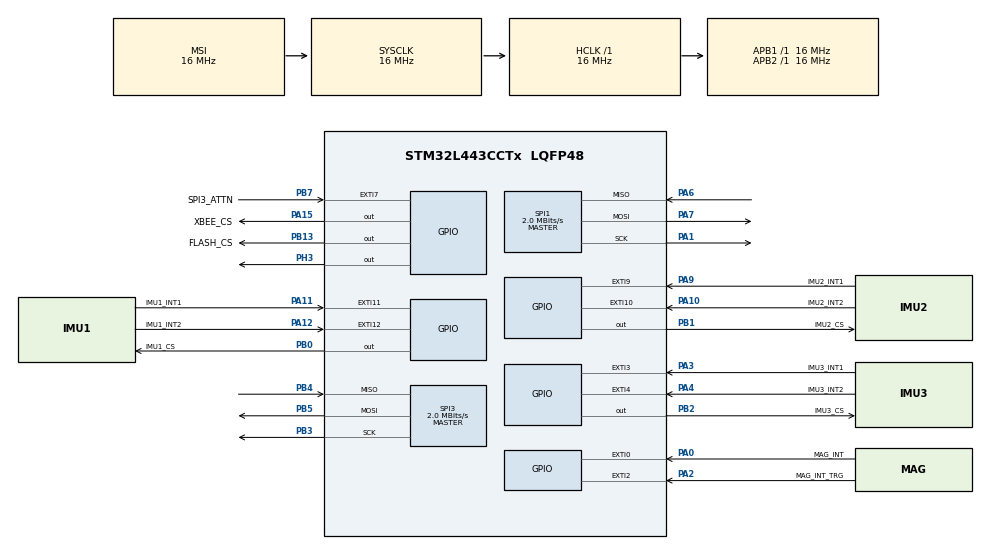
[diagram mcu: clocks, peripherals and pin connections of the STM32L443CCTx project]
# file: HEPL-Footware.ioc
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ARM.CMSIS.5.8.0.CMSISJjCORE=true
ARM.CMSIS.5.8.0.CMSISJjDSP=Source
Mcu.Family=STM32L4
Mcu.Name=STM32L443CCTx
Mcu.Package=LQFP48
NVIC.EXTI0_IRQn=true\:4\:0\:true\:false\:true\:true\:true\:true
NVIC.EXTI15_10_IRQn=true\:3\:0\:true\:false\:true\:true\:true\:true
NVIC.EXTI3_IRQn=true\:3\:0\:true\:false\:true\:true\:true\:true
NVIC.EXTI4_IRQn=true\:3\:0\:true\:false\:true\:true\:true\:true
NVIC.EXTI9_5_IRQn=true\:3\:0\:true\:false\:true\:true\:true\:true
NVIC.PriorityGroup=NVIC_PRIORITYGROUP_4
NVIC.TIM2_IRQn=true\:0\:0\:false\:false\:true\:true\:true\:true
PA0.GPIO_Label=MAG_INT
PA0.Signal=GPXTI0
PA1.Mode=Full_Duplex_Master
PA1.Signal=SPI1_SCK
PA10.GPIO_Label=IMU2_INT2
PA10.Signal=GPXTI10
PA11.GPIO_Label=IMU1_INT1
PA11.Signal=GPXTI11
PA12.GPIO_Label=IMU1_INT2
PA12.Signal=GPXTI12
PA13\ (JTMS-SWDIO).Mode=Serial_Wire
PA13\ (JTMS-SWDIO).Signal=SYS_JTMS-SWDIO
PA14\ (JTCK-SWCLK).Mode=Serial_Wire
PA14\ (JTCK-SWCLK).Signal=SYS_JTCK-SWCLK
PA15\ (JTDI).GPIO_Label=XBEE_CS
PA15\ (JTDI).Signal=GPIO_Output
PA2.GPIO_Label=MAG_INT_TRG
PA2.Signal=GPXTI2
PA3.GPIO_Label=IMU3_INT1
PA3.Signal=GPXTI3
PA4.GPIO_Label=IMU3_INT2
PA4.Signal=GPXTI4
PA6.Mode=Full_Duplex_Master
PA6.Signal=SPI1_MISO
PA7.Mode=Full_Duplex_Master
PA7.Signal=SPI1_MOSI
PA9.GPIO_Label=IMU2_INT1
PA9.Signal=GPXTI9
PB0.GPIO_Label=IMU1_CS
PB0.Signal=GPIO_Output
PB1.GPIO_Label=IMU2_CS
PB1.Signal=GPIO_Output
PB10.Signal=SPI2_SCK
PB13.GPIO_Label=FLASH_CS
PB13.Signal=GPIO_Output
PB14.Signal=SPI2_MISO
PB15.Signal=SPI2_MOSI
PB2.GPIO_Label=IMU3_CS
PB2.Signal=GPIO_Output
PB3\ (JTDO-TRACESWO).Mode=Full_Duplex_Master
PB3\ (JTDO-TRACESWO).Signal=SPI3_SCK
PB4\ (NJTRST).Mode=Full_Duplex_Master
PB4\ (NJTRST).Signal=SPI3_MISO
PB5.Mode=Full_Duplex_Master
PB5.Signal=SPI3_MOSI
PB7.GPIO_Label=SPI3_ATTN
PB7.GPIO_ModeDefaultEXTI=GPIO_MODE_IT_FALLING
PB7.Signal=GPXTI7
PH0-OSC_IN\ (PH0).Mode=HSE-External-Oscillator
PH0-OSC_IN\ (PH0).Signal=RCC_OSC_IN
PH1-OSC_OUT\ (PH1).Mode=HSE-External-Oscillator
PH1-OSC_OUT\ (PH1).Signal=RCC_OSC_OUT
PH3-BOOT0.GPIO_PuPd=GPIO_PULLDOWN
PH3-BOOT0.Signal=GPIO_Output
ProjectManager.HeapSize=0x200
ProjectManager.StackSize=0x400
ProjectManager.TargetToolchain=STM32CubeIDE
RCC.ADCFreq_Value=64000000
RCC.AHBFreq_Value=16000000
RCC.APB1Freq_Value=16000000
RCC.APB1TimFreq_Value=16000000
RCC.APB2Freq_Value=16000000
RCC.APB2TimFreq_Value=16000000
RCC.CortexFreq_Value=16000000
RCC.DATA_CACHE_ENABLE=1
RCC.HCLKFreq_Value=16000000
RCC.HSE_VALUE=8000000
RCC.HSI48_VALUE=48000000
RCC.HSI_VALUE=16000000
RCC.INSTRUCTION_CACHE_ENABLE=1
RCC.LSE_VALUE=32768
RCC.MSIClockRange=RCC_MSIRANGE_8
RCC.MSI_VALUE=16000000
RCC.PREFETCH_ENABLE=1
RCC.SYSCLKFreq_VALUE=16000000
RCC.USBFreq_Value=64000000
RCC.VCOOutputFreq_Value=128000000
SPI1.BaudRatePrescaler=SPI_BAUDRATEPRESCALER_8
SPI1.CLKPhase=SPI_PHASE_1EDGE
SPI1.CLKPolarity=SPI_POLARITY_LOW
SPI1.CalculateBaudRate=2.0 MBits/s
SPI1.DataSize=SPI_DATASIZE_8BIT
SPI1.Direction=SPI_DIRECTION_2LINES
SPI1.Mode=SPI_MODE_MASTER
SPI1.NSSPMode=SPI_NSS_PULSE_DISABLE
SPI1.VirtualType=VM_MASTER
SPI3.BaudRatePrescaler=SPI_BAUDRATEPRESCALER_8
SPI3.CalculateBaudRate=2.0 MBits/s
SPI3.DataSize=SPI_DATASIZE_8BIT
SPI3.Direction=SPI_DIRECTION_2LINES
SPI3.Mode=SPI_MODE_MASTER
SPI3.VirtualType=VM_MASTER
TIM2.Channel-Output\ Compare1\ No\ Output=TIM_CHANNEL_1
TIM2.OC1Preload=DISABLE
TIM2.OCMode_1=TIM_OCMODE_TIMING
TIM2.Period=40
TIM2.Prescaler=7999
VP_ARM.CMSIS_VS_CMSISJjCORE_5.5.0_5.8.0.Mode=CMSISJjCORE
VP_ARM.CMSIS_VS_CMSISJjDSP_1.9.0-dev_5.8.0.Mode=CMSISJjDSP
VP_TIM2_VS_ClockSourceINT.Mode=Internal
VP_TIM2_VS_no_output1.Mode=Output Compare1 No Output
board=custom

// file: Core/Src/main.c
/* USER CODE BEGIN Header */
/**
  ******************************************************************************
  * @file           : main.c
  * @brief          : Main program body
  ******************************************************************************
  * @attention
  *
  * Copyright (c) 2023 STMicroelectronics.
  * All rights reserved.
  *
  * This software is licensed under terms that can be found in the LICENSE file
  * in the root directory of this software component.
  * If no LICENSE file comes with this software, it is provided AS-IS.
  *
  ******************************************************************************
  */
/* USER CODE END Header */
#include "main.h"

/* USER CODE BEGIN Includes */

#include "IMU.h"
#include "stm32l4xx_hal.h"
#include <hueristicProcessing.h>
#include "XBee.h"

/* USER CODE END Includes */

/* USER CODE BEGIN PD */
#define TX_DATA_BUF_SZ 12
/* USER CODE END PD */

SPI_HandleTypeDef hspi1;
SPI_HandleTypeDef hspi3;

TIM_HandleTypeDef htim2;

/* USER CODE BEGIN PV */

IMU IMU0;
IMU IMU1;
IMU IMU2;

SensorData IMU0_data;
SensorData IMU1_data;
SensorData IMU2_data;

volatile uint8_t DRDY_flag = 0;

volatile uint8_t periodic_tx_flag = 1;

volatile uint8_t new_data_flag = 0;

const uint8_t IS_COMP_FILTER = 1;

volatile int calibrated = 0;

enum STATE {
		RESET_STATE,
		RUN_STATE
};

volatile float timeDelta = 1 * 1.0F/50; // Default to 1/52Hz (IMU sample rate)

/* USER CODE END PV */

void SystemClock_Config(void);
static void MX_GPIO_Init(void);
static void MX_SPI1_Init(void);
static void MX_SPI3_Init(void);
static void MX_TIM2_Init(void);

/* USER CODE BEGIN 0 */

// Needs ~0.5s delay when switching b/w XBees for some reason
#define CTR_MOD 50
#define comp 1
#define glass 0
uint8_t xbee_rx_buf[64];
uint16_t rx_size;

uint8_t sendCurrentPosition(uint8_t state) {
	static int ctr = 0;

//	Position pos;
//
//	returnCurrentPosition(&pos);

	Position pos;

	float heading = returnCurrentPosition(&pos);
	uint32_t head = *(int*)&heading; // x_opt

//	uint32_t posX = *(int*)&pos.X;
//	uint32_t posY = *(int*)&pos.Y;

	uint32_t POSX = *(int*)&pos.X;
	uint32_t POSY = *(int*)&pos.Y;

	//Position tmp = {(float)ZUPT, 0,0};

	uint8_t data_buf[12];

	int i;
	for (i = 0; i < 3; ++i) {
	  data_buf[i] = (POSX >> (3-i)*8) & 0xFF;
	}
	for (i = 0; i < 3; ++i) {
	  data_buf[i+4] = (POSY >> (3-i)*8) & 0xFF;
	}
	for (i = 0; i < 3; ++i) {
	  data_buf[i+8] = (head >> (3-i)*8) & 0xFF;
	}

	//data_buf[8] = state;

	if (ctr == 0) {
		//XBeeTX(data_buf, TX_DATA_BUF_SZ,xbee_rx_buf, glass);
		XBeeTX(data_buf, TX_DATA_BUF_SZ,xbee_rx_buf, comp);
	} //else if (ctr == CTR_MOD/2){
		//XBeeTransmitReceive(data_buf, xbee_rx_buf, TX_DATA_BUF_SZ, comp);
	//}

	ctr = (ctr + 1) % CTR_MOD;

	return xbee_rx_buf[0];
}

/* USER CODE END 0 */

int main(void)
{

  /* MCU Configuration--------------------------------------------------------*/

  /* Reset of all peripherals, Initializes the Flash interface and the Systick. */
  HAL_Init();

  /* Configure the system clock */
  SystemClock_Config();

  /* Initialize all configured peripherals */
  MX_GPIO_Init();
  MX_SPI1_Init();
  MX_SPI3_Init();
  MX_TIM2_Init();
  /* USER CODE BEGIN 2 */

  if (HAL_TIM_Base_Start_IT(&htim2) != HAL_OK) {
      /* Starting Error */
      Error_Handler();
  }

  IMU_init(&hspi1, &IMU0, 0);
  IMU_init(&hspi1, &IMU1, 1);
  IMU_init(&hspi1, &IMU2, 2);

  HAL_Delay(500);

  IMU_readSensorData(&IMU0, &IMU0_data);
  IMU_readSensorData(&IMU1, &IMU1_data);
  IMU_readSensorData(&IMU2, &IMU2_data);

  HAL_Delay(500);

  IMU_readSensorData(&IMU0, &IMU0_data);
  IMU_readSensorData(&IMU1, &IMU1_data);
  IMU_readSensorData(&IMU2, &IMU2_data);

  init_heuristic_processing(&IMU0_data, &IMU1_data, &IMU2_data);

  /* USER CODE END 2 */

  /* Infinite loop */
  while (1)
  {

    /* USER CODE BEGIN 3 */

	  if (DRDY_flag || periodic_tx_flag) {

		 // if (calibrated) {
			  // Sample IMU Data
			  IMU_readSensorData(&IMU0, &IMU0_data);
			  IMU_readSensorData(&IMU1, &IMU1_data);
			  IMU_readSensorData(&IMU2, &IMU2_data);

			  calculatePosition(&IMU0_data, &IMU1_data, &IMU2_data, timeDelta);

			  DRDY_flag = 0;

			  new_data_flag = 1;
		 /* } else {
			  // Sample IMU Data
			  IMU_readSensorData(&IMU0, &IMU0_data);
			  IMU_readSensorData(&IMU1, &IMU1_data);
			  IMU_readSensorData(&IMU2, &IMU2_data);

			  calibrate(&IMU0_data, &IMU1_data, &IMU2_data, timeDelta);

			  DRDY_flag = 0;
		  }*/

	  }

	  if (periodic_tx_flag && new_data_flag) {

		  sendCurrentPosition(RUN_STATE);

		  //TODO get a reset command
	/*	  if (rx_byte1 == 0xAA) {
			  // Reset command from glasses board

			  IMU_readSensorData(&IMU0, &IMU0_data);
			  IMU_readSensorData(&IMU1, &IMU1_data);

			  resetCurrentPosition(&IMU0_data, &IMU1_data);

			  sendCurrentPosition(RESET_STATE);
		  }*/
		  periodic_tx_flag = 0;
		  new_data_flag = 0;
	  }

  }
  /* USER CODE END 3 */
}

void SystemClock_Config(void)
{
  RCC_OscInitTypeDef RCC_OscInitStruct = {0};
  RCC_ClkInitTypeDef RCC_ClkInitStruct = {0};

  /** Configure the main internal regulator output voltage
  */
  if (HAL_PWREx_ControlVoltageScaling(PWR_REGULATOR_VOLTAGE_SCALE1) != HAL_OK)
  {
    Error_Handler();
  }

  /** Initializes the RCC Oscillators according to the specified parameters
  * in the RCC_OscInitTypeDef structure.
  */
  RCC_OscInitStruct.OscillatorType = RCC_OSCILLATORTYPE_MSI;
  RCC_OscInitStruct.MSIState = RCC_MSI_ON;
  RCC_OscInitStruct.MSICalibrationValue = 0;
  RCC_OscInitStruct.MSIClockRange = RCC_MSIRANGE_8;
  RCC_OscInitStruct.PLL.PLLState = RCC_PLL_NONE;
  if (HAL_RCC_OscConfig(&RCC_OscInitStruct) != HAL_OK)
  {
    Error_Handler();
  }

  /** Initializes the CPU, AHB and APB buses clocks
  */
  RCC_ClkInitStruct.ClockType = RCC_CLOCKTYPE_HCLK|RCC_CLOCKTYPE_SYSCLK
                              |RCC_CLOCKTYPE_PCLK1|RCC_CLOCKTYPE_PCLK2;
  RCC_ClkInitStruct.SYSCLKSource = RCC_SYSCLKSOURCE_MSI;
  RCC_ClkInitStruct.AHBCLKDivider = RCC_SYSCLK_DIV1;
  RCC_ClkInitStruct.APB1CLKDivider = RCC_HCLK_DIV1;
  RCC_ClkInitStruct.APB2CLKDivider = RCC_HCLK_DIV1;

  if (HAL_RCC_ClockConfig(&RCC_ClkInitStruct, FLASH_LATENCY_0) != HAL_OK)
  {
    Error_Handler();
  }
}

static void MX_SPI1_Init(void)
{

  /* SPI1 parameter configuration*/
  hspi1.Instance = SPI1;
  hspi1.Init.Mode = SPI_MODE_MASTER;
  hspi1.Init.Direction = SPI_DIRECTION_2LINES;
  hspi1.Init.DataSize = SPI_DATASIZE_8BIT;
  hspi1.Init.CLKPolarity = SPI_POLARITY_LOW;
  hspi1.Init.CLKPhase = SPI_PHASE_1EDGE;
  hspi1.Init.NSS = SPI_NSS_SOFT;
  hspi1.Init.BaudRatePrescaler = SPI_BAUDRATEPRESCALER_8;
  hspi1.Init.FirstBit = SPI_FIRSTBIT_MSB;
  hspi1.Init.TIMode = SPI_TIMODE_DISABLE;
  hspi1.Init.CRCCalculation = SPI_CRCCALCULATION_DISABLE;
  hspi1.Init.CRCPolynomial = 7;
  hspi1.Init.CRCLength = SPI_CRC_LENGTH_DATASIZE;
  hspi1.Init.NSSPMode = SPI_NSS_PULSE_DISABLE;
  if (HAL_SPI_Init(&hspi1) != HAL_OK)
  {
    Error_Handler();
  }

}

static void MX_SPI3_Init(void)
{

  /* SPI3 parameter configuration*/
  hspi3.Instance = SPI3;
  hspi3.Init.Mode = SPI_MODE_MASTER;
  hspi3.Init.Direction = SPI_DIRECTION_2LINES;
  hspi3.Init.DataSize = SPI_DATASIZE_8BIT;
  hspi3.Init.CLKPolarity = SPI_POLARITY_LOW;
  hspi3.Init.CLKPhase = SPI_PHASE_1EDGE;
  hspi3.Init.NSS = SPI_NSS_SOFT;
  hspi3.Init.BaudRatePrescaler = SPI_BAUDRATEPRESCALER_8;
  hspi3.Init.FirstBit = SPI_FIRSTBIT_MSB;
  hspi3.Init.TIMode = SPI_TIMODE_DISABLE;
  hspi3.Init.CRCCalculation = SPI_CRCCALCULATION_DISABLE;
  hspi3.Init.CRCPolynomial = 7;
  hspi3.Init.CRCLength = SPI_CRC_LENGTH_DATASIZE;
  hspi3.Init.NSSPMode = SPI_NSS_PULSE_ENABLE;
  if (HAL_SPI_Init(&hspi3) != HAL_OK)
  {
    Error_Handler();
  }

}

static void MX_TIM2_Init(void)
{

  TIM_ClockConfigTypeDef sClockSourceConfig = {0};
  TIM_MasterConfigTypeDef sMasterConfig = {0};
  TIM_OC_InitTypeDef sConfigOC = {0};

  htim2.Instance = TIM2;
  htim2.Init.Prescaler = 7999;
  htim2.Init.CounterMode = TIM_COUNTERMODE_UP;
  htim2.Init.Period = 40;
  htim2.Init.ClockDivision = TIM_CLOCKDIVISION_DIV1;
  htim2.Init.AutoReloadPreload = TIM_AUTORELOAD_PRELOAD_DISABLE;
  if (HAL_TIM_Base_Init(&htim2) != HAL_OK)
  {
    Error_Handler();
  }
  sClockSourceConfig.ClockSource = TIM_CLOCKSOURCE_INTERNAL;
  if (HAL_TIM_ConfigClockSource(&htim2, &sClockSourceConfig) != HAL_OK)
  {
    Error_Handler();
  }
  if (HAL_TIM_OC_Init(&htim2) != HAL_OK)
  {
    Error_Handler();
  }
  sMasterConfig.MasterOutputTrigger = TIM_TRGO_RESET;
  sMasterConfig.MasterSlaveMode = TIM_MASTERSLAVEMODE_DISABLE;
  if (HAL_TIMEx_MasterConfigSynchronization(&htim2, &sMasterConfig) != HAL_OK)
  {
    Error_Handler();
  }
  sConfigOC.OCMode = TIM_OCMODE_TIMING;
  sConfigOC.Pulse = 0;
  sConfigOC.OCPolarity = TIM_OCPOLARITY_HIGH;
  sConfigOC.OCFastMode = TIM_OCFAST_DISABLE;
  if (HAL_TIM_OC_ConfigChannel(&htim2, &sConfigOC, TIM_CHANNEL_1) != HAL_OK)
  {
    Error_Handler();
  }

}

static void MX_GPIO_Init(void)
{
  GPIO_InitTypeDef GPIO_InitStruct = {0};

  /* GPIO Ports Clock Enable */
  __HAL_RCC_GPIOH_CLK_ENABLE();
  __HAL_RCC_GPIOA_CLK_ENABLE();
  __HAL_RCC_GPIOB_CLK_ENABLE();

  /*Configure GPIO pin Output Level */
  HAL_GPIO_WritePin(GPIOB, IMU1_CS_Pin|IMU2_CS_Pin|IMU3_CS_Pin|FLASH_CS_Pin, GPIO_PIN_RESET);

  /*Configure GPIO pin Output Level */
  HAL_GPIO_WritePin(XBEE_CS_GPIO_Port, XBEE_CS_Pin, GPIO_PIN_RESET);

  /*Configure GPIO pin Output Level */
  HAL_GPIO_WritePin(GPIOH, GPIO_PIN_3, GPIO_PIN_RESET);

  /*Configure GPIO pins : MAG_INT_Pin MAG_INT_TRG_Pin IMU3_INT1_Pin IMU3_INT2_Pin
                           IMU2_INT1_Pin IMU2_INT2_Pin IMU1_INT1_Pin IMU1_INT2_Pin */
  GPIO_InitStruct.Pin = MAG_INT_Pin|MAG_INT_TRG_Pin|IMU3_INT1_Pin|IMU3_INT2_Pin
                          |IMU2_INT1_Pin|IMU2_INT2_Pin|IMU1_INT1_Pin|IMU1_INT2_Pin;
  GPIO_InitStruct.Mode = GPIO_MODE_IT_RISING;
  GPIO_InitStruct.Pull = GPIO_NOPULL;
  HAL_GPIO_Init(GPIOA, &GPIO_InitStruct);

  /*Configure GPIO pins : IMU1_CS_Pin IMU2_CS_Pin IMU3_CS_Pin FLASH_CS_Pin */
  GPIO_InitStruct.Pin = IMU1_CS_Pin|IMU2_CS_Pin|IMU3_CS_Pin|FLASH_CS_Pin;
  GPIO_InitStruct.Mode = GPIO_MODE_OUTPUT_PP;
  GPIO_InitStruct.Pull = GPIO_NOPULL;
  GPIO_InitStruct.Speed = GPIO_SPEED_FREQ_LOW;
  HAL_GPIO_Init(GPIOB, &GPIO_InitStruct);

  /*Configure GPIO pins : PB10 PB14 PB15 */
  GPIO_InitStruct.Pin = GPIO_PIN_10|GPIO_PIN_14|GPIO_PIN_15;
  GPIO_InitStruct.Mode = GPIO_MODE_AF_PP;
  GPIO_InitStruct.Pull = GPIO_NOPULL;
  GPIO_InitStruct.Speed = GPIO_SPEED_FREQ_VERY_HIGH;
  GPIO_InitStruct.Alternate = GPIO_AF5_SPI2;
  HAL_GPIO_Init(GPIOB, &GPIO_InitStruct);

  /*Configure GPIO pin : XBEE_CS_Pin */
  GPIO_InitStruct.Pin = XBEE_CS_Pin;
  GPIO_InitStruct.Mode = GPIO_MODE_OUTPUT_PP;
  GPIO_InitStruct.Pull = GPIO_NOPULL;
  GPIO_InitStruct.Speed = GPIO_SPEED_FREQ_LOW;
  HAL_GPIO_Init(XBEE_CS_GPIO_Port, &GPIO_InitStruct);

  /*Configure GPIO pin : SPI3_ATTN_Pin */
  GPIO_InitStruct.Pin = SPI3_ATTN_Pin;
  GPIO_InitStruct.Mode = GPIO_MODE_IT_FALLING;
  GPIO_InitStruct.Pull = GPIO_NOPULL;
  HAL_GPIO_Init(SPI3_ATTN_GPIO_Port, &GPIO_InitStruct);

  /*Configure GPIO pin : PH3 */
  GPIO_InitStruct.Pin = GPIO_PIN_3;
  GPIO_InitStruct.Mode = GPIO_MODE_OUTPUT_PP;
  GPIO_InitStruct.Pull = GPIO_PULLDOWN;
  GPIO_InitStruct.Speed = GPIO_SPEED_FREQ_LOW;
  HAL_GPIO_Init(GPIOH, &GPIO_InitStruct);

  /* EXTI interrupt init*/
  HAL_NVIC_SetPriority(EXTI0_IRQn, 4, 0);
  HAL_NVIC_EnableIRQ(EXTI0_IRQn);

  HAL_NVIC_SetPriority(EXTI3_IRQn, 3, 0);
  HAL_NVIC_EnableIRQ(EXTI3_IRQn);

  HAL_NVIC_SetPriority(EXTI4_IRQn, 3, 0);
  HAL_NVIC_EnableIRQ(EXTI4_IRQn);

  HAL_NVIC_SetPriority(EXTI9_5_IRQn, 3, 0);
  HAL_NVIC_EnableIRQ(EXTI9_5_IRQn);

  HAL_NVIC_SetPriority(EXTI15_10_IRQn, 3, 0);
  HAL_NVIC_EnableIRQ(EXTI15_10_IRQn);

}

/* USER CODE BEGIN 4 */

void parseXbeeData(){

	int i = 0;
	while (xbee_rx_buf[i] != 0x7e) {
			i++;
	}

	/*//int frame_size = xbee_rx_buf[i + 2];
	int frame = xbee_rx_buf[i + 3];
	if (frame != 0x90){
		return;
	}

	if (frame[i + 15] == 82 && frame[i + 16] == 83 && frame[i + 17])
	{
		 resetCurrentPosition(&IMU0_data, &IMU1_data, &IMU2_data);
	}*/

}

void HAL_GPIO_EXTI_Callback(uint16_t GPIO_Pin)
{
	if (GPIO_Pin == SPI3_ATTN_Pin)
	{
		rx_size = 0;
		while (!HAL_GPIO_ReadPin(SPI3_ATTN_GPIO_Port, SPI3_ATTN_Pin))
		{
			HAL_GPIO_WritePin(GPIOA, GPIO_PIN_15, 0);
			HAL_SPI_Receive(&hspi3, &xbee_rx_buf[rx_size], 1, 2);
			HAL_GPIO_WritePin(GPIOA, GPIO_PIN_15, 1);
			rx_size = (rx_size + 1) % 64;
		}
		parseXbeeData();
	}
}

/* USER CODE END 4 */

void Error_Handler(void)
{
  __disable_irq();
  while (1)
  {
  }
}
